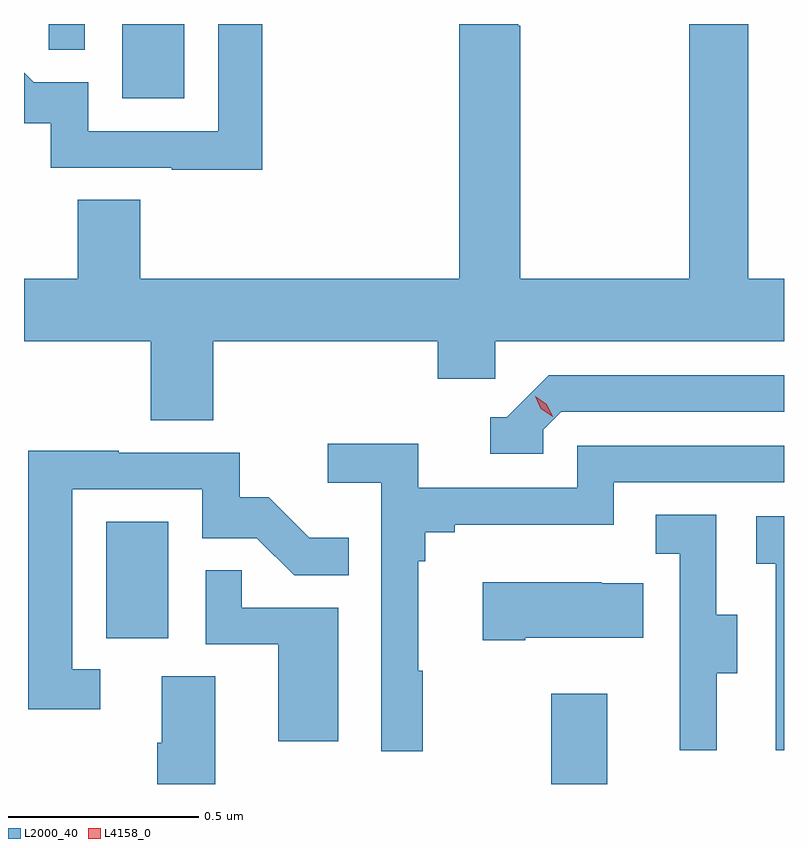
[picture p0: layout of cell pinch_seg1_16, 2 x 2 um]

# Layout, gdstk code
import gdstk
lib = gdstk.Library(unit=1e-6, precision=1e-09)
def R(c, l, rs):  # rectangles x0, y0, x1, y1
    for r in rs: c.add(gdstk.rectangle(r[:2], r[2:], *l))
def P(c, l, *ps):  # polygons
    for p in ps: c.add(gdstk.Polygon(p, *l))
L2000_40 = (2000, 40)
L4158_0 = (4158, 0)

pinch_seg1_16 = lib.new_cell('pinch_seg1_16')
R(pinch_seg1_16, L2000_40, [(1117.762,579.871,1117.909,580.108), (1116.59,580.254,1116.754,580.561), (1116.632,581.676,1116.796,581.871), (1116.439,581.803,1116.534,581.871)])
P(pinch_seg1_16, L2000_40, [(1116.872,581.036),(1117.463,581.036),(1117.463,580.938),(1117.614,580.938),(1117.614,581.036),(1118.374,581.036),(1118.374,581.2),(1118.28,581.2),(1118.28,581.871),(1118.125,581.871),(1118.125,581.2),(1117.68,581.2),(1117.68,581.867),(1117.675,581.867),(1117.675,581.871),(1117.52,581.871),(1117.52,581.2),(1116.68,581.2),(1116.68,581.408),(1116.515,581.408),(1116.515,581.2),(1116.374,581.2),(1116.374,581.036),(1116.707,581.036),(1116.707,580.828),(1116.872,580.828)],
  [(1117.001,581.871),(1116.885,581.871),(1116.885,581.589),(1116.543,581.589),(1116.543,581.718),(1116.399,581.718),(1116.374,581.743),(1116.374,581.61),(1116.445,581.61),(1116.445,581.493),(1116.763,581.493),(1116.763,581.488),(1117.001,581.488)],
  [(1117.74,580.803),(1117.788,580.851),(1118.374,580.851),(1118.374,580.947),(1117.755,580.947),(1117.644,580.836),(1117.601,580.836),(1117.601,580.74),(1117.74,580.74)],
  [(1117.423,580.169),(1117.411,580.169),(1117.411,580.457),(1117.43,580.457),(1117.43,580.534),(1117.507,580.534),(1117.507,580.553),(1117.926,580.553),(1117.926,580.665),(1118.374,580.665),(1118.374,580.761),(1117.83,580.761),(1117.83,580.65),(1117.412,580.65),(1117.412,580.766),(1117.173,580.766),(1117.173,580.664),(1117.314,580.664),(1117.314,579.957),(1117.423,579.957)],
  [(1116.574,580.173),(1116.501,580.173),(1116.501,580.647),(1116.843,580.647),(1116.843,580.518),(1116.987,580.518),(1117.085,580.42),(1117.229,580.42),(1117.229,580.519),(1117.125,580.519),(1117.018,580.626),(1116.942,580.626),(1116.942,580.743),(1116.623,580.743),(1116.623,580.748),(1116.385,580.748),(1116.385,580.068),(1116.574,580.068)],
  [(1118.197,580.162),(1118.251,580.162),(1118.251,580.317),(1118.196,580.317),(1118.196,580.58),(1118.037,580.58),(1118.037,580.477),(1118.1,580.477),(1118.1,580.173),(1118.099,580.173),(1118.099,579.96),(1118.197,579.96)],
  [(1118.374,580.575),(1118.301,580.575),(1118.301,580.451),(1118.352,580.451),(1118.352,579.96),(1118.374,579.96)],
  [(1117.201,580.335),(1116.947,580.335),(1116.947,580.433),(1116.852,580.433),(1116.852,580.239),(1117.043,580.239),(1117.043,579.984),(1117.201,579.984)],
  [(1117.693,580.256),(1118.003,580.256),(1118.003,580.399),(1117.895,580.399),(1117.895,580.402),(1117.581,580.402),(1117.581,580.249),(1117.693,580.249)],
  [(1116.877,580.154),(1116.737,580.154),(1116.737,579.98),(1116.725,579.98),(1116.725,579.871),(1116.877,579.871)])
P(pinch_seg1_16, L4158_0, [(1117.765,580.838),(1117.734,580.858),(1117.719,580.891),(1117.719,580.891),(1117.719,580.891),(1117.75,580.871),(1117.765,580.838),(1117.765,580.838)])

lib.write_gds('pinch_seg1_16.gds')
